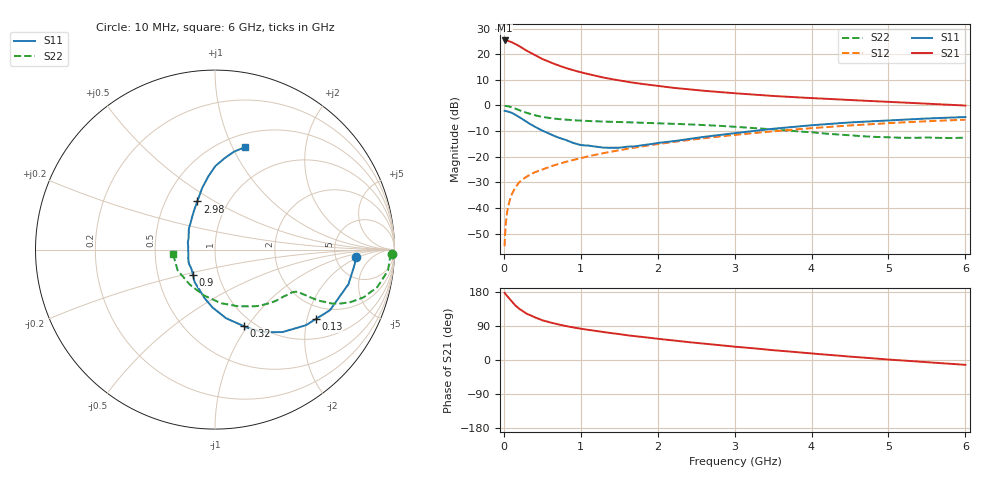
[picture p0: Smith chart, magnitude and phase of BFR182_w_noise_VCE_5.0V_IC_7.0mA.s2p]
! Infineon Technologies  Discrete & RF Semiconductors
! BFR182
! VCE =  5.0 V,  IC =  7.0 mA
! Common Emitter S-Parameters:  Nov 2015
# GHz  S  MA  R  50
!  f  S11  S21  S12  S22
! GHz  MAG  ANG  MAG  ANG  MAG  ANG  MAG  ANG
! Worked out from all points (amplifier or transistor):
!   210 points, 10 MHz to 6 GHz, reference 50 ohm
!   highest |S21| = 25.4 dB at 10 MHz (marker M1)
!   |S21| within 3 dB of that: start of sweep to 242.5 MHz
!   unconditionally stable (mu >= 1): 940.7 MHz to 2.784 GHz
!   at 185 MHz: K = 0.41, MSG = 27.0 dB, |S12| = -30.5 dB
!   at 1.52 GHz: K = 1.05, MAG = 12.1 dB, |S12| = -17.4 dB
!   at 6 GHz: K = 0.89, MSG = 2.8 dB, |S12| = -5.6 dB
!   lowest NFmin = 1.30 dB at 450 MHz
!   S11 on the Smith chart (normalised r, x): 10 MHz: 7.96, -1.65; 130 MHz: 1.56, -2.25; 320 MHz: 0.89, -0.96; 900 MHz: 0.75, -0.22; 2.98 GHz: 0.72, +0.42; 6 GHz: 0.63, +1.12
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0.01  0.7852 -2.9  18.53 177.2  0.0018 90.6  0.9869 -1.4
0.025  0.7792 -7.3  18.35 173.2  0.0048 85.8  0.9747 -3.5
0.05  0.7682 -14.5  18.31 166.9  0.0097 82.4  0.9709 -6.9
0.1  0.7241 -27.8  17.24 155.2  0.018 76.7  0.9281 -13.0
0.13  0.6811 -34.7  16.32 148.6  0.0222 73.1  0.8924 -15.8
0.15  0.6586 -39.8  15.83 143.8  0.0251 71.4  0.8698 -17.8
0.2  0.5938 -50.7  14.43 135.2  0.0317 68.2  0.8099 -21.2
0.26  0.5221 -60.8  12.64 126.8  0.0374 65.3  0.7503 -23.7
0.3  0.4743 -67.1  11.63 121.8  0.0412 64.8  0.7151 -24.8
0.32  0.455 -69.4  11.21 120.2  0.0429 64.4  0.701 -25.1
0.4  0.3871 -80.9  9.656 112.5  0.0495 63.1  0.6447 -26.2
0.5  0.3231 -92.4  8.062 104.8  0.0562 63.5  0.5973 -26.6
0.7  0.2391 -111.5  6.105 94.2  0.0711 64.2  0.5452 -26.9
0.9  0.1861 -131.3  4.871 85.9  0.0863 64.9  0.5149 -27.2
1.02  0.1679 -143.2  4.367 81.9  0.0957 65.2  0.5038 -27.8
1.4  0.1502 -179.5  3.263 70.8  0.1257 65.2  0.4806 -30.9
2.02  0.187 140.9  2.376 55.6  0.178 62.3  0.45 -38.2
2.98  0.2854 110.1  1.74 35.6  0.2644 55.2  0.3866 -54.7
3.1  0.2999 107.8  1.688 33.5  0.2755 53.9  0.3753 -57.3
4.1  0.4218 93.9  1.367 15.6  0.3699 43.7  0.2901 -87.2
5.1  0.5193 83.1  1.161 -0.1  0.4608 31.6  0.2361 -131.0
6  0.5948 73.7  0.996 -12.8  0.5266 19.2  0.2358 -174.6
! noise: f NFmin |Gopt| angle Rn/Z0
0.45  1.3  0.26  40  0.29
0.9  1.45  0.25  81  0.23
1.8  2  0.21  157  0.2
